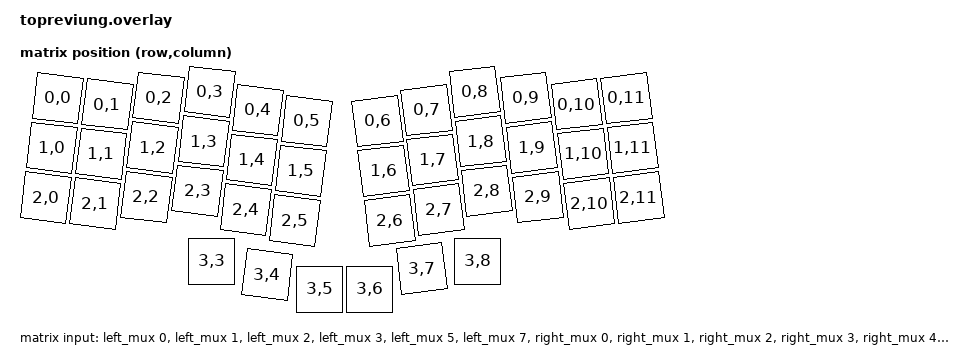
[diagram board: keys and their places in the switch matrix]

#include <zephyr/dt-bindings/dt-util.h>
#include <zephyr/dt-bindings/adc/adc.h>

#include <dt-bindings/zmk/matrix_transform.h>
#include <physical_layouts.dtsi>

&xiao_adc {
	status = "okay";
};

/ {
	chosen {
		zmk,kscan = &matrix;
	};

	twelve_u_layout: twelve_u_layout {
		compatible = "zmk,physical-layout";
		display-name = "Default";
		
		transform = <&matrix_transform>;
		
		keys
			= <&key_physical_attrs 100 100 000  53 700    400 338>
			, <&key_physical_attrs 100 100 100  53 700    400 338>
			, <&key_physical_attrs 100 100 200  28 700    400 338>
			, <&key_physical_attrs 100 100 300  03 700    400 338>
			, <&key_physical_attrs 100 100 400  28 700    400 338>
			, <&key_physical_attrs 100 100 500  38 700    400 338>
			, <&key_physical_attrs 100 100 700  38 (-700) 900 338>
			, <&key_physical_attrs 100 100 800  28 (-700) 900 338>
			, <&key_physical_attrs 100 100 900  03 (-700) 900 338>
			, <&key_physical_attrs 100 100 1000 28 (-700) 900 338>
			, <&key_physical_attrs 100 100 1100 53 (-700) 900 338>
			, <&key_physical_attrs 100 100 1200 53 (-700) 900 338>

			, <&key_physical_attrs 100 100 000  153 700    400 338>
			, <&key_physical_attrs 100 100 100  153 700    400 338>
			, <&key_physical_attrs 100 100 200  128 700    400 338>
			, <&key_physical_attrs 100 100 300  103 700    400 338>
			, <&key_physical_attrs 100 100 400  128 700    400 338>
			, <&key_physical_attrs 100 100 500  138 700    400 338>
			, <&key_physical_attrs 100 100 700  138 (-700) 900 338>
			, <&key_physical_attrs 100 100 800  128 (-700) 900 338>
			, <&key_physical_attrs 100 100 900  103 (-700) 900 338>
			, <&key_physical_attrs 100 100 1000 128 (-700) 900 338>
			, <&key_physical_attrs 100 100 1100 153 (-700) 900 338>
			, <&key_physical_attrs 100 100 1200 153 (-700) 900 338>

			, <&key_physical_attrs 100 100 000  253 700    400 338>
			, <&key_physical_attrs 100 100 100  253 700    400 338>
			, <&key_physical_attrs 100 100 200  228 700    400 338>
			, <&key_physical_attrs 100 100 300  203 700    400 338>
			, <&key_physical_attrs 100 100 400  228 700    400 338>
			, <&key_physical_attrs 100 100 500  238 700    400 338>
			, <&key_physical_attrs 100 100 700  238 (-700) 900 338>
			, <&key_physical_attrs 100 100 800  228 (-700) 900 338>
			, <&key_physical_attrs 100 100 900  203 (-700) 900 338>
			, <&key_physical_attrs 100 100 1000 228 (-700) 900 338>
			, <&key_physical_attrs 100 100 1100 253 (-700) 900 338>
			, <&key_physical_attrs 100 100 1200 253 (-700) 900 338>

			, <&key_physical_attrs 100 100 339 338 0 0 0>
			, <&key_physical_attrs 100 100 450 365 700 500 415>
			, <&key_physical_attrs 100 100 555 394 0 0 0>
			, <&key_physical_attrs 100 100 655 394 0 0 0>
			, <&key_physical_attrs 100 100 760 365 (-700) 710 415>
			, <&key_physical_attrs 100 100 871 338 0 0 0>
			;
	};
	
	left_mux: left_mux {
		compatible = "zmk,gpio-mux";
		select-gpios
			= <&xiao_d 1 GPIO_ACTIVE_HIGH>
		        , <&xiao_d 2 GPIO_ACTIVE_HIGH>
		        , <&xiao_d 3 GPIO_ACTIVE_HIGH>
			;

		en-gpios = <&xiao_d 4 GPIO_ACTIVE_HIGH>;

		gpio-controller;
		ngpios = <8>;
		#gpio-cells = <2>;
	};

	right_mux: right_mux {
		compatible = "zmk,gpio-mux";
		select-gpios
			= <&xiao_d 1 GPIO_ACTIVE_HIGH>
		        , <&xiao_d 2 GPIO_ACTIVE_HIGH>
		        , <&xiao_d 3 GPIO_ACTIVE_HIGH>
			;

		en-gpios = <&xiao_d 5 GPIO_ACTIVE_HIGH>;

		gpio-controller;
		ngpios = <8>;
		#gpio-cells = <2>;
	};

	matrix: matrix {
		compatible = "zmk,kscan-ec-matrix";

		matrix-relax-us = <3>;
		adc-read-settle-us = <1>;

		strobe-gpios
			= <&xiao_d 10 GPIO_ACTIVE_HIGH>
		        , <&xiao_d 9 GPIO_ACTIVE_HIGH>
		        , <&xiao_d 8 GPIO_ACTIVE_HIGH>
		        , <&xiao_d 7 GPIO_ACTIVE_HIGH>
			;

		input-gpios
			= <&left_mux 0 0>
			, <&left_mux 1 0>
			, <&left_mux 2 0>
			, <&left_mux 3 0>
			, <&left_mux 5 0>
			, <&left_mux 7 0>
			, <&right_mux 0 0>
			, <&right_mux 1 0>
			, <&right_mux 2 0>
			, <&right_mux 3 0>
			, <&right_mux 4 0>
			, <&right_mux 6 0>
			;

		drain-gpios = <&xiao_d 6 GPIO_OPEN_DRAIN>;
		io-channels = <&xiao_adc 0>;
		strobe-input-masks = <
			0
			0
			0
			(BIT(0) + BIT(1) + BIT(2) + BIT(9) + BIT(10) + BIT(11))
			>;
	};

	matrix_transform: matrix_transform {
		compatible = "zmk,matrix-transform";

		columns = <12>;
		rows = <4>;
	
		map = <
RC(0,0) RC(0,1) RC(0,2) RC(0,3) RC(0,4) RC(0,5) RC(0,6) RC(0,7) RC(0,8) RC(0,9) RC(0,10) RC(0,11)
RC(1,0) RC(1,1) RC(1,2) RC(1,3) RC(1,4) RC(1,5) RC(1,6) RC(1,7) RC(1,8) RC(1,9) RC(1,10) RC(1,11)
RC(2,0) RC(2,1) RC(2,2) RC(2,3) RC(2,4) RC(2,5) RC(2,6) RC(2,7) RC(2,8) RC(2,9) RC(2,10) RC(2,11)
                        RC(3,3) RC(3,4) RC(3,5) RC(3,6) RC(3,7) RC(3,8)
		>;
	};
	
};
